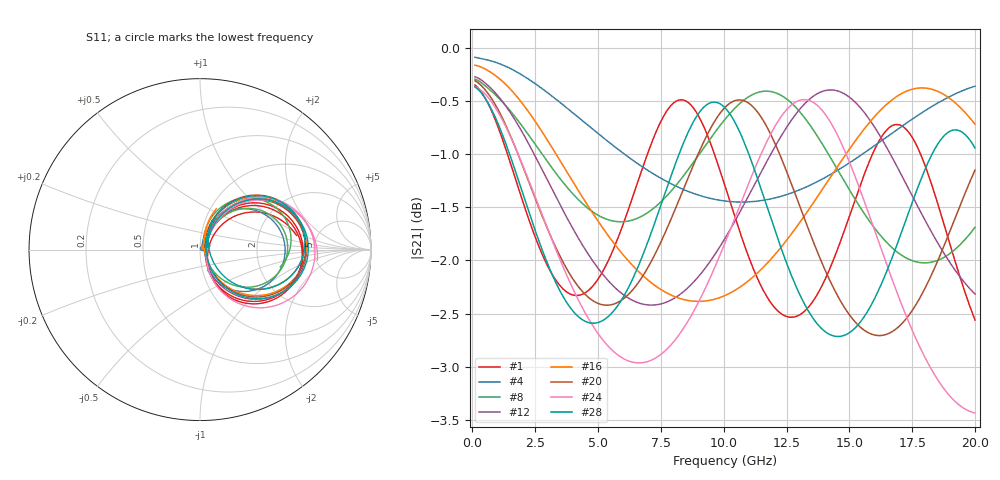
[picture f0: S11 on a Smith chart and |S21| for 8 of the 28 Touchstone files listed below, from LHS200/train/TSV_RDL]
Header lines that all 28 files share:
! Touchstone file exported from HFSS 2026.1.0
!  Design:  TSV_RDL
! Variables:
! Terminal data exported
# GHz S MA R 50.000000
Fixed: h_ox = 20um, h_rdl = 5um, h_via = 3um, m_sub = 200um, s_tmrdl = 10um, w_sub = 500um
Also varied, not listed: x_tsv_center2, x_tsv_center3, x_tsv_center4, x_tsv_center5, x_tsv_center6
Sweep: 100 MHz to 20 GHz
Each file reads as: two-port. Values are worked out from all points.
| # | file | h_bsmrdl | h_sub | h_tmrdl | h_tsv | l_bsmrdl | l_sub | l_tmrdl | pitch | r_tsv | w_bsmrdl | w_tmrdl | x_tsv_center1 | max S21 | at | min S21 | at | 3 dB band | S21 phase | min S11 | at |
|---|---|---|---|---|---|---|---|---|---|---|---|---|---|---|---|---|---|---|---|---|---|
| 1 | dut141.s2p | 2.28um | 98.75um | 5.17um | 98.75um | 988.02um | 7255.18um | 941.49um | 57.94um | 8.91um | 16.04um | 25.68um | 954.33um | -0.35 dB | 100 MHz | -2.6 dB | 20 GHz | 100 MHz-20 GHz | 135 deg at 10.1 GHz | -29.7 dB | 8.4 GHz |
| 2 | dut142.s2p | 5.86um | 52.16um | 5.07um | 52.16um | 554.91um | 3271.67um | 279.37um | 33.61um | 2.64um | 12.08um | 17.74um | 288.24um | -0.17 dB | 100 MHz | -1.7 dB | 10 GHz | 100 MHz-20 GHz | -91 deg at 10.1 GHz | -33.2 dB | 100 MHz |
| 3 | dut143.s2p | 4.28um | 54.98um | 5.75um | 54.98um | 972.59um | 4128.54um | 177.47um | 52.34um | 14.81um | 14.35um | 19.28um | 187.11um | -0.17 dB | 100 MHz | -2.3 dB | 7.6 GHz | 100 MHz-20 GHz | -114 deg at 10.1 GHz | -31.6 dB | 100 MHz |
| 4 | dut144.s2p | 2.81um | 81.4um | 5.96um | 81.4um | 132.64um | 2778.74um | 453.94um | 54.92um | 4.62um | 26.5um | 28.52um | 468.2um | -0.09 dB | 100 MHz | -1.4 dB | 10.7 GHz | 100 MHz-20 GHz | -85 deg at 10.1 GHz | -37.3 dB | 100 MHz |
| 5 | dut145.s2p | 5.14um | 92.28um | 5.57um | 92.28um | 211.5um | 3585.26um | 601.99um | 56.74um | 13.97um | 29.79um | 17.81um | 610.895um | -0.10 dB | 100 MHz | -1.5 dB | 20 GHz | 100 MHz-20 GHz | -111 deg at 10.1 GHz | -35.4 dB | 14.8 GHz |
| 6 | dut146.s2p | 2.85um | 96.39um | 5.53um | 96.39um | 716.3um | 3333.11um | 156.43um | 59.5um | 13um | 26.56um | 26.27um | 169.565um | -0.11 dB | 100 MHz | -1.4 dB | 8.5 GHz | 100 MHz-20 GHz | -103 deg at 10.1 GHz | -35.3 dB | 17 GHz |
| 7 | dut147.s2p | 2.14um | 86.07um | 2.55um | 86.07um | 669.55um | 2916.15um | 105.35um | 38.26um | 2.06um | 12.15um | 16.55um | 113.625um | -0.39 dB | 100 MHz | -2.7 dB | 9.8 GHz | 100 MHz-20 GHz | -91 deg at 10.1 GHz | -28.0 dB | 19.8 GHz |
| 8 | dut149.s2p | 5.58um | 71.91um | 2.12um | 71.91um | 112.78um | 4723.62um | 963.41um | 48.25um | 13.75um | 23.95um | 19.93um | 973.375um | -0.29 dB | 100 MHz | -2.0 dB | 18 GHz | 100 MHz-20 GHz | -141 deg at 10.1 GHz | -32.4 dB | 11.9 GHz |
| 9 | dut151.s2p | 3.84um | 96.98um | 3.21um | 96.98um | 121.49um | 1399.08um | 115.34um | 44.95um | 3.18um | 28.45um | 29.3um | 129.99um | -0.10 dB | 100 MHz | -1.2 dB | 17.6 GHz | 100 MHz-20 GHz | -55 deg at 10.1 GHz | -38.2 dB | 100 MHz |
| 10 | dut153.s2p | 4.89um | 88.53um | 5.1um | 88.53um | 260.36um | 5143.17um | 963.11um | 57.97um | 2.15um | 13.31um | 23.24um | 974.73um | -0.26 dB | 100 MHz | -2.6 dB | 18 GHz | 100 MHz-20 GHz | -148 deg at 10.1 GHz | -29.7 dB | 11.9 GHz |
| 11 | dut154.s2p | 2.38um | 71.78um | 5.71um | 71.78um | 858.22um | 4356.71um | 328.45um | 58.46um | 9.23um | 11.48um | 11.27um | 334.085um | -0.36 dB | 100 MHz | -3.5 dB | 20 GHz | 7.6 GHz-19.3 GHz | -120 deg at 10.1 GHz | -28.0 dB | 14 GHz |
| 12 | dut155.s2p | 2.17um | 96.87um | 2.38um | 96.87um | 872.55um | 3951.93um | 203.51um | 58.49um | 3.73um | 24.58um | 15.5um | 211.26um | -0.27 dB | 100 MHz | -2.4 dB | 7.1 GHz | 100 MHz-20 GHz | -118 deg at 10.1 GHz | -31.2 dB | 14.4 GHz |
| 13 | dut156.s2p | 2.13um | 91.73um | 3.9um | 91.73um | 741.2um | 5548.86um | 693.53um | 56.74um | 2.16um | 26.11um | 24.27um | 705.665um | -0.34 dB | 100 MHz | -2.4 dB | 16.1 GHz | 100 MHz-20 GHz | -167 deg at 10.1 GHz | -30.1 dB | 10.7 GHz |
| 14 | dut157.s2p | 2.67um | 87.78um | 2um | 87.78um | 127.82um | 4879.29um | 999.92um | 25.78um | 3.32um | 16.63um | 15.42um | 1007.63um | -0.47 dB | 100 MHz | -1.6 dB | 18.1 GHz | 100 MHz-20 GHz | -147 deg at 10.1 GHz | -30.1 dB | 12 GHz |
| 15 | dut159.s2p | 5.87um | 55.12um | 2.25um | 55.12um | 618.92um | 4198.5um | 458.18um | 46.96um | 13.8um | 25.27um | 11.07um | 463.715um | -0.27 dB | 100 MHz | -2.0 dB | 20 GHz | 100 MHz-20 GHz | -122 deg at 10.1 GHz | -32.1 dB | 13.3 GHz |
| 16 | dut161.s2p | 3.67um | 99.44um | 4.04um | 99.44um | 287.26um | 2919.29um | 385.18um | 58.6um | 5.94um | 28.25um | 10.68um | 390.52um | -0.16 dB | 100 MHz | -2.4 dB | 9 GHz | 100 MHz-20 GHz | -94 deg at 10.1 GHz | -32.6 dB | 100 MHz |
| 17 | dut162.s2p | 2.16um | 62.39um | 4.62um | 62.39um | 204.31um | 3119.22um | 509.78um | 51.12um | 2.85um | 10.26um | 12.13um | 515.845um | -0.25 dB | 100 MHz | -3.3 dB | 10 GHz | 100 MHz-8.6 GHz | -89 deg at 10.1 GHz | -29.7 dB | 100 MHz |
| 18 | dut163.s2p | 5.96um | 99.28um | 5.51um | 99.28um | 519.48um | 6040.52um | 995.98um | 50.21um | 14.55um | 19.48um | 13.24um | 1002.6um | -0.22 dB | 100 MHz | -2.2 dB | 13.5 GHz | 100 MHz-20 GHz | 163 deg at 10.1 GHz | -30.2 dB | 8.9 GHz |
| 19 | dut164.s2p | 5.88um | 52.29um | 5.36um | 52.29um | 426.95um | 5689.77um | 978.08um | 53.06um | 3.94um | 14.81um | 17.39um | 986.775um | -0.21 dB | 100 MHz | -2.8 dB | 17.3 GHz | 100 MHz-20 GHz | -152 deg at 10.1 GHz | -29.4 dB | 100 MHz |
| 20 | dut165.s2p | 2.36um | 87.02um | 3.61um | 87.02um | 346.58um | 5357.15um | 946.39um | 50.98um | 4.1um | 29.6um | 14.35um | 953.565um | -0.31 dB | 100 MHz | -2.7 dB | 16.2 GHz | 100 MHz-20 GHz | -161 deg at 10.1 GHz | -29.0 dB | 10.7 GHz |
| 21 | dut167.s2p | 3.77um | 61.94um | 2.27um | 61.94um | 106.63um | 4149.02um | 828.37um | 59.81um | 4.2um | 10.38um | 28.17um | 842.455um | -0.22 dB | 100 MHz | -2.2 dB | 7.6 GHz | 100 MHz-20 GHz | -114 deg at 10.1 GHz | -32.2 dB | 15.3 GHz |
| 22 | dut168.s2p | 3.91um | 53.22um | 2.87um | 53.22um | 987.75um | 5922.08um | 595.72um | 56.87um | 14.99um | 29.9um | 28.75um | 610.095um | -0.18 dB | 100 MHz | -1.7 dB | 16.1 GHz | 100 MHz-20 GHz | -166 deg at 10.1 GHz | -33.4 dB | 10.7 GHz |
| 23 | dut171.s2p | 2.58um | 63um | 4.36um | 63um | 162.81um | 4791.66um | 933.29um | 50.99um | 5.43um | 28.71um | 27.98um | 947.28um | -0.14 dB | 100 MHz | -1.5 dB | 19.8 GHz | 100 MHz-20 GHz | -134 deg at 10.1 GHz | -33.5 dB | 13.1 GHz |
| 24 | dut173.s2p | 2.24um | 97.19um | 4.52um | 97.19um | 940.68um | 4434.26um | 273.64um | 56.58um | 5.79um | 12.11um | 27.11um | 287.195um | -0.36 dB | 100 MHz | -3.4 dB | 20 GHz | 100 MHz-19.3 GHz | -130 deg at 10.1 GHz | -28.5 dB | 13.3 GHz |
| 25 | dut174.s2p | 3.73um | 97.52um | 2.79um | 97.52um | 109.26um | 4774.8um | 982.13um | 46.98um | 2.3um | 10.59um | 28.91um | 996.585um | -0.30 dB | 100 MHz | -1.7 dB | 18.8 GHz | 100 MHz-20 GHz | -146 deg at 10.1 GHz | -31.3 dB | 12.5 GHz |
| 26 | dut176.s2p | 5.04um | 95.37um | 2.28um | 95.37um | 979.23um | 4373.74um | 228.09um | 55.67um | 3.78um | 13.58um | 27.65um | 241.915um | -0.23 dB | 100 MHz | -3.0 dB | 20 GHz | 100 MHz-20 GHz | -126 deg at 10.1 GHz | -29.5 dB | 100 MHz |
| 27 | dut177.s2p | 2.56um | 73.28um | 4.29um | 73.28um | 614.96um | 2988.36um | 153.95um | 52.9um | 2.32um | 28.69um | 13.87um | 160.885um | -0.20 dB | 100 MHz | -2.0 dB | 9.6 GHz | 100 MHz-20 GHz | -91 deg at 10.1 GHz | -32.2 dB | 19.4 GHz |
| 28 | dut179.s2p | 2.33um | 75.29um | 5.93um | 75.29um | 978.32um | 6134um | 671.14um | 55.44um | 2.21um | 26.99um | 11.17um | 676.725um | -0.37 dB | 100 MHz | -2.7 dB | 14.5 GHz | 100 MHz-20 GHz | 176 deg at 10.1 GHz | -28.9 dB | 9.7 GHz |
